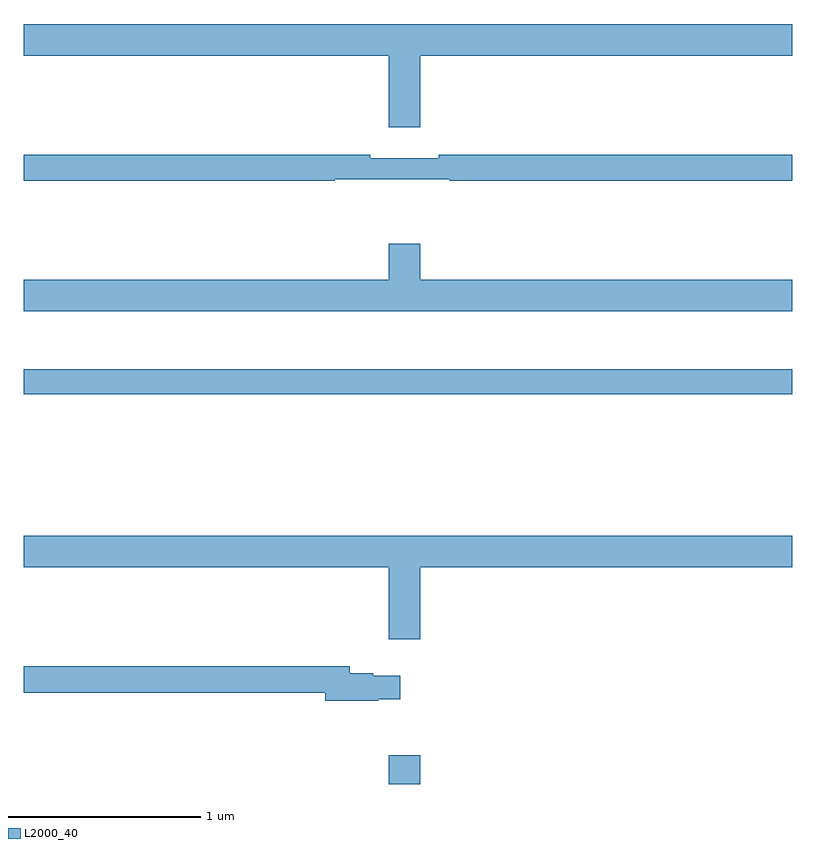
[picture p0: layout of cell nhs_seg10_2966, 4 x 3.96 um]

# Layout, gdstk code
import gdstk
lib = gdstk.Library(unit=1e-6, precision=1e-09)
def R(c, l, rs):  # rectangles x0, y0, x1, y1
    for r in rs: c.add(gdstk.rectangle(r[:2], r[2:], *l))
def P(c, l, *ps):  # polygons
    for p in ps: c.add(gdstk.Polygon(p, *l))
L2000_40 = (2000, 40)

nhs_seg10_2966 = lib.new_cell('nhs_seg10_2966')
R(nhs_seg10_2966, L2000_40, [(272.9,1320.5,273.064,1320.649), (271,1322.53,275,1322.659)])
P(nhs_seg10_2966, L2000_40, [(273.064,1324.292),(275,1324.292),(275,1324.456),(271,1324.456),(271,1324.292),(272.9,1324.292),(272.9,1323.918),(273.064,1323.918)],
  [(272.618,1323.648),(273.218,1323.648),(273.218,1323.64),(275,1323.64),(275,1323.776),(273.16,1323.776),(273.16,1323.757),(272.804,1323.757),(272.804,1323.776),(271,1323.776),(271,1323.64),(272.618,1323.64)],
  [(275,1323.124),(273.064,1323.124),(273.064,1323.313),(272.9,1323.313),(272.9,1323.124),(271,1323.124),(271,1322.96),(275,1322.96)],
  [(273.064,1321.628),(275,1321.628),(275,1321.792),(271,1321.792),(271,1321.628),(272.9,1321.628),(272.9,1321.254),(273.064,1321.254)],
  [(272.846,1320.941),(272.959,1320.941),(272.959,1321.063),(272.82,1321.063),(272.82,1321.076),(272.698,1321.076),(272.698,1321.112),(271,1321.112),(271,1320.976),(272.57,1320.976),(272.57,1320.934),(272.846,1320.934)])

lib.write_gds('nhs_seg10_2966.gds')
